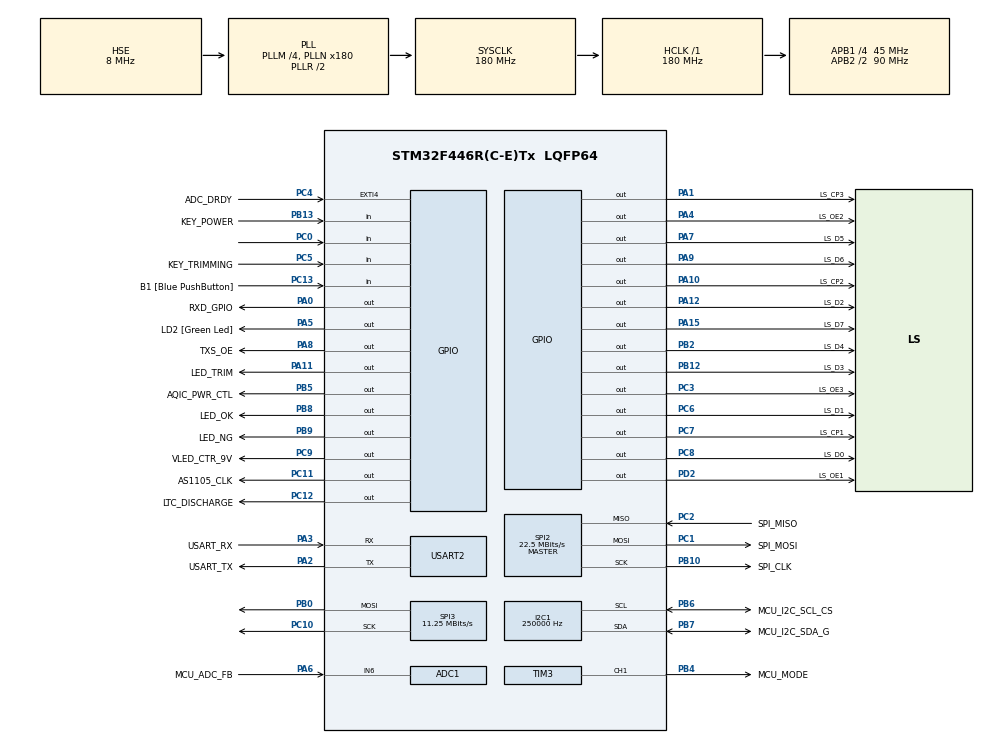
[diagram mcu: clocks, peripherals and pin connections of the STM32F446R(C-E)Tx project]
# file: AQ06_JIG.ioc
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ADC1.Channel-22\#ChannelRegularConversion=ADC_CHANNEL_6
ADC1.NbrOfConversionFlag=1
ADC1.Rank-22\#ChannelRegularConversion=1
ADC1.SamplingTime-22\#ChannelRegularConversion=ADC_SAMPLETIME_3CYCLES
ADC1.master=1
FREERTOS.INCLUDE_vTaskDelayUntil=1
FREERTOS.Queues01=queue_key_event,16,uint16_t,0,Dynamic,NULL,NULL
FREERTOS.Tasks01=JIG_MAIN,0,512,JigTestMainTask,Default,NULL,Dynamic,NULL,NULL;KeyDetectTask,-2,128,KeyDetector,Default,NULL,Dynamic,NULL,NULL;KeyHandlerTask,-2,128,KeyHandler,Default,NULL,Dynamic,NULL,NULL;myTaskDebugUart,-2,512,TaskDebugUart,Default,NULL,Dynamic,NULL,NULL
FREERTOS.configENABLE_FPU=1
FREERTOS.configUSE_TIMERS=1
I2C1.ClockSpeed=250000
I2C1.I2C_Mode=I2C_Fast
Mcu.Family=STM32F4
Mcu.Name=STM32F446R(C-E)Tx
Mcu.Package=LQFP64
NVIC.EXTI4_IRQn=true\:5\:0\:false\:false\:true\:true\:true\:true\:true
NVIC.PriorityGroup=NVIC_PRIORITYGROUP_4
NVIC.TIM1_UP_TIM10_IRQn=true\:15\:0\:false\:false\:true\:false\:false\:true\:true
NVIC.TimeBase=TIM1_UP_TIM10_IRQn
NVIC.TimeBaseIP=TIM1
NVIC.USART2_IRQn=true\:5\:0\:false\:false\:true\:true\:true\:true\:true
PA0-WKUP.GPIO_Label=RXD_GPIO
PA0-WKUP.Signal=GPIO_Output
PA1.GPIO_Label=LS_CP3
PA1.PinState=GPIO_PIN_RESET
PA1.Signal=GPIO_Output
PA10.GPIO_Label=LS_CP2
PA10.GPIO_Speed=GPIO_SPEED_FREQ_LOW
PA10.PinState=GPIO_PIN_RESET
PA10.Signal=GPIO_Output
PA11.GPIO_Label=LED_TRIM
PA11.Signal=GPIO_Output
PA12.GPIO_Label=LS_D2
PA12.Signal=GPIO_Output
PA13.GPIO_Label=TMS
PA13.Mode=Serial_Wire
PA13.Signal=SYS_JTMS-SWDIO
PA14.GPIO_Label=TCK
PA14.Mode=Serial_Wire
PA14.Signal=SYS_JTCK-SWCLK
PA15.GPIO_Label=LS_D7
PA15.Signal=GPIO_Output
PA2.GPIO_Label=USART_TX
PA2.Mode=Asynchronous
PA2.Signal=USART2_TX
PA3.GPIO_Label=USART_RX
PA3.Mode=Asynchronous
PA3.Signal=USART2_RX
PA4.GPIO_Label=LS_OE2
PA4.Signal=GPIO_Output
PA5.GPIO_Label=LD2 [Green Led]
PA5.Signal=GPIO_Output
PA6.GPIO_Label=MCU_ADC_FB
PA6.Signal=ADCx_IN6
PA7.GPIO_Label=LS_D5
PA7.Signal=GPIO_Output
PA8.GPIO_Label=TXS_OE
PA8.GPIO_Speed=GPIO_SPEED_FREQ_VERY_HIGH
PA8.Signal=GPIO_Output
PA9.GPIO_Label=LS_D6
PA9.GPIO_Speed=GPIO_SPEED_FREQ_LOW
PA9.Signal=GPIO_Output
PB0.Mode=TX_Only_Simplex_Unidirect_Master
PB0.Signal=SPI3_MOSI
PB10.GPIO_Label=SPI_CLK
PB10.Mode=Full_Duplex_Master
PB10.Signal=SPI2_SCK
PB12.GPIO_Label=LS_D3
PB12.Signal=GPIO_Output
PB13.GPIO_Label=KEY_POWER
PB13.GPIO_PuPd=GPIO_PULLUP
PB13.Signal=GPIO_Input
PB2.GPIO_Label=LS_D4
PB2.Signal=GPIO_Output
PB3.GPIO_Label=SWO
PB3.Signal=SYS_JTDO-SWO
PB4.GPIO_Label=MCU_MODE
PB4.Signal=S_TIM3_CH1
PB5.GPIO_Label=AQIC_PWR_CTL
PB5.Signal=GPIO_Output
PB6.GPIO_Label=MCU_I2C_SCL_CS
PB6.Mode=I2C
PB6.Signal=I2C1_SCL
PB7.GPIO_Label=MCU_I2C_SDA_G
PB7.Mode=I2C
PB7.Signal=I2C1_SDA
PB8.GPIO_Label=LED_OK
PB8.Signal=GPIO_Output
PB9.GPIO_Label=LED_NG
PB9.Signal=GPIO_Output
PC0.Signal=GPIO_Input
PC1.GPIO_Label=SPI_MOSI
PC1.Mode=Full_Duplex_Master
PC1.Signal=SPI2_MOSI
PC10.Mode=TX_Only_Simplex_Unidirect_Master
PC10.Signal=SPI3_SCK
PC11.GPIO_Label=AS1105_CLK
PC11.GPIO_Speed=GPIO_SPEED_FREQ_VERY_HIGH
PC11.Signal=GPIO_Output
PC12.GPIO_Label=LTC_DISCHARGE
PC12.GPIO_Speed=GPIO_SPEED_FREQ_VERY_HIGH
PC12.Signal=GPIO_Output
PC13.GPIO_Label=B1 [Blue PushButton]
PC13.Signal=GPIO_Input
PC14-OSC32_IN.Mode=LSE-External-Oscillator
PC14-OSC32_IN.Signal=RCC_OSC32_IN
PC15-OSC32_OUT.Mode=LSE-External-Oscillator
PC15-OSC32_OUT.Signal=RCC_OSC32_OUT
PC2.GPIO_Label=SPI_MISO
PC2.Mode=Full_Duplex_Master
PC2.Signal=SPI2_MISO
PC3.GPIO_Label=LS_OE3
PC3.PinState=GPIO_PIN_RESET
PC3.Signal=GPIO_Output
PC4.GPIO_Label=ADC_DRDY
PC4.GPIO_ModeDefaultEXTI=GPIO_MODE_IT_FALLING
PC4.Signal=GPXTI4
PC5.GPIO_Label=KEY_TRIMMING
PC5.Signal=GPIO_Input
PC6.GPIO_Label=LS_D1
PC6.Signal=GPIO_Output
PC7.GPIO_Label=LS_CP1
PC7.Signal=GPIO_Output
PC8.GPIO_Label=LS_D0
PC8.Signal=GPIO_Output
PC9.GPIO_Label=VLED_CTR_9V
PC9.PinState=GPIO_PIN_SET
PC9.Signal=GPIO_Output
PD2.GPIO_Label=LS_OE1
PD2.GPIO_ModeDefaultOutputPP=GPIO_MODE_OUTPUT_PP
PD2.GPIO_Speed=GPIO_SPEED_FREQ_VERY_HIGH
PD2.PinState=GPIO_PIN_RESET
PD2.Signal=GPIO_Output
PH0-OSC_IN.Mode=HSE-External-Oscillator
PH0-OSC_IN.Signal=RCC_OSC_IN
PH1-OSC_OUT.Mode=HSE-External-Oscillator
PH1-OSC_OUT.Signal=RCC_OSC_OUT
ProjectManager.HeapSize=0x200
ProjectManager.StackSize=0x400
ProjectManager.TargetToolchain=EWARM V8.32
RCC.48MHZClocksFreq_Value=84000000
RCC.AHBFreq_Value=180000000
RCC.APB1CLKDivider=RCC_HCLK_DIV4
RCC.APB1Freq_Value=45000000
RCC.APB1TimFreq_Value=90000000
RCC.APB2CLKDivider=RCC_HCLK_DIV2
RCC.APB2Freq_Value=90000000
RCC.APB2TimFreq_Value=180000000
RCC.CortexFreq_Value=180000000
RCC.FLatency-AdvancedSettings=FLASH_LATENCY_5
RCC.HCLKFreq_Value=180000000
RCC.HSE_VALUE=8000000
RCC.HSI_VALUE=16000000
RCC.PLLM=4
RCC.PLLN=180
RCC.PLLP=RCC_PLLP_DIV4
RCC.PLLSourceVirtual=RCC_PLLSOURCE_HSE
RCC.SYSCLKFreq_VALUE=180000000
RCC.SYSCLKSource=RCC_SYSCLKSOURCE_PLLRCLK
RCC.USBFreq_Value=180000000
RCC.VCOOutputFreq_Value=360000000
SH.ADCx_IN6.0=ADC1_IN6,IN6
SH.S_TIM3_CH1.0=TIM3_CH1,PWM Generation1 CH1
SPI2.BaudRatePrescaler=SPI_BAUDRATEPRESCALER_2
SPI2.CLKPhase=SPI_PHASE_2EDGE
SPI2.CalculateBaudRate=22.5 MBits/s
SPI2.Direction=SPI_DIRECTION_2LINES
SPI2.Mode=SPI_MODE_MASTER
SPI2.VirtualType=VM_MASTER
SPI3.BaudRatePrescaler=SPI_BAUDRATEPRESCALER_4
SPI3.CLKPolarity=SPI_POLARITY_HIGH
SPI3.CalculateBaudRate=11.25 MBits/s
SPI3.DataSize=SPI_DATASIZE_16BIT
SPI3.Direction=SPI_DIRECTION_2LINES
SPI3.Mode=SPI_MODE_MASTER
SPI3.VirtualType=VM_MASTER
TIM3.AutoReloadPreload=TIM_AUTORELOAD_PRELOAD_ENABLE
TIM3.Channel-PWM\ Generation1\ CH1=TIM_CHANNEL_1
TIM3.Period=89
TIM3.Prescaler=0
TIM3.Pulse-PWM\ Generation1\ CH1=25
TIM4.AutoReloadPreload=TIM_AUTORELOAD_PRELOAD_ENABLE
TIM4.Prescaler=89
USART2.VirtualMode=VM_ASYNC
VP_FREERTOS_VS_CMSIS_V1.Mode=CMSIS_V1
VP_SYS_VS_tim1.Mode=TIM1
VP_TIM3_VS_ClockSourceINT.Mode=Internal
VP_TIM4_VS_ClockSourceINT.Mode=Internal
board=NUCLEO-F446RE

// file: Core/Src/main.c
/* USER CODE BEGIN Header */
/**
  ******************************************************************************
  * @file           : main.c
  * @brief          : Main program body
  ******************************************************************************
  * @attention
  *
  * <h2><center>&copy; Copyright (c) 2021 STMicroelectronics.
  * All rights reserved.</center></h2>
  *
  * This software component is licensed by ST under Ultimate Liberty license
  * SLA0044, the "License"; You may not use this file except in compliance with
  * the License. You may obtain a copy of the License at:
  *                             www.st.com/SLA0044
  *
  ******************************************************************************
  */
#define __APIC_MAIN_C__
/* USER CODE END Header */
#include "main.h"
#include "cmsis_os.h"

/* USER CODE BEGIN Includes */
#include "include.h"

/* USER CODE END Includes */

ADC_HandleTypeDef hadc1;

I2C_HandleTypeDef hi2c1;

SPI_HandleTypeDef hspi2;
SPI_HandleTypeDef hspi3;

TIM_HandleTypeDef htim3;
TIM_HandleTypeDef htim4;

UART_HandleTypeDef huart2;

osThreadId JIG_MAINHandle;
osThreadId KeyDetectTaskHandle;
osThreadId KeyHandlerTaskHandle;
osThreadId myTaskDebugUartHandle;
osMessageQId queue_key_eventHandle;
/* USER CODE BEGIN PV */

//osMessageQId Queue_Handle;
//osPoolId Pool_ID;
#define UART_CMD_LENGTH     60
typedef struct {
    uint8_t len;
    uint8_t param[UART_CMD_LENGTH];
}MessageQ;

/* Place following data in section METAINFO */
#pragma default_variable_attributes = __root @ "METAINFO"
const uint16_t gn_metainfo[8] =
{
    0xAAAA,
    VERSION_MAJOR,
    VERSION_MINOR,
    VERSION_REVISION,
    BUILD_YEAR,
    (BUILD_MONTH + 1),
    BUILD_DAY,
    0x5555
};
/* Stop placing data in section METAINFO */
#pragma default_variable_attributes =

uint8_t gn_i2c_setting_type;    /* 0 : I2C, 1 : GPIO */

uint8_t gn_apic_test_type;      /* 0 : normal test, 1 : 1 : trimming */

static uint8_t gn_uart_temp_rx;

static uint8_t gn_uart_msg_queue_index;
static MessageQ gt_uart_queue[16];
static MessageQ* gp_uart_queue;

QueueHandle_t xQueue = NULL;

char msg_buffer[256];

/* USER CODE END PV */

void SystemClock_Config(void);
static void MX_GPIO_Init(void);
static void MX_USART2_UART_Init(void);
static void MX_I2C1_Init(void);
static void MX_TIM3_Init(void);
static void MX_ADC1_Init(void);
static void MX_SPI2_Init(void);
static void MX_SPI3_Init(void);
static void MX_TIM4_Init(void);
void JigTestMainTask(void const * argument);
void KeyDetector(void const * argument);
void KeyHandler(void const * argument);
void TaskDebugUart(void const * argument);

/* USER CODE BEGIN PFP */
static void DAC_SPI_CS_LO()
{
    LATCH__WritePin(DAC_CS_LS_CP, DAC_CS_LS_PORT, LATCH_PIN_RESET);
}

static void DAC_SPI_CS_HI()
{
    LATCH__WritePin(DAC_CS_LS_CP, DAC_CS_LS_PORT, LATCH_PIN_SET);
}

static void spi_dac_init(void)
{
    uint16_t spi_buffer[1] = {0, };

    spi_buffer[0] = DAC_OP_MODE_WTM;

    DAC_SPI_CS_LO();
    HAL_SPI_Transmit(&hspi3, (uint8_t *)spi_buffer, 1, 1);
    DAC_SPI_CS_HI();

    spi_buffer[0] = DAC_OP_BROADCAST;

    DAC_SPI_CS_LO();
    HAL_SPI_Transmit(&hspi3, (uint8_t *)spi_buffer, 1, 1);
    DAC_SPI_CS_HI();
}

void AQIC_Apply_Voltage(float f_voltage, uint8_t ch)
{
    uint16_t channel = ch;
    uint16_t gn_spi_buffer[1] = {0};
    uint16_t voltage_to_dac = (uint16_t)((f_voltage * 4095) / 5.0f);

    if(voltage_to_dac > 4095)
    {
        voltage_to_dac = 4095;
    }

    if (channel != AQIC_D_ALL)
    {
        gn_spi_buffer[0] = (channel<<12) | voltage_to_dac;
        DAC_SPI_CS_LO();
        HAL_SPI_Transmit(&hspi3, (uint8_t*)gn_spi_buffer, 1, 1);
        DAC_SPI_CS_HI();
    }

    else
    {
        for(channel = 0 ; channel < 2 ; channel++)
        {
            gn_spi_buffer[0] = (channel<<12) | voltage_to_dac;
            DAC_SPI_CS_LO();
            HAL_SPI_Transmit(&hspi3, (uint8_t*)gn_spi_buffer, 1, 1);
            DAC_SPI_CS_HI();
        }
    }
}

void AQIC_I2C_Setting(uint8_t i2c_type)
{
    if(gn_i2c_setting_type != i2c_type)
    {
        gn_i2c_setting_type = i2c_type;

        snprintf(msg_buffer, sizeof msg_buffer, "Change to %s\r\n", (gn_i2c_setting_type == I2C_USED_I2C) ? "I2C_I2C" : "I2C_GPIO" );
        print(msg_buffer);

        if(gn_i2c_setting_type == I2C_USED_I2C)
        {
            hi2c1.Instance = I2C1;
            hi2c1.Init.ClockSpeed = 100000;
            hi2c1.Init.DutyCycle = I2C_DUTYCYCLE_2;
            hi2c1.Init.OwnAddress1 = 0;
            hi2c1.Init.AddressingMode = I2C_ADDRESSINGMODE_7BIT;
            hi2c1.Init.DualAddressMode = I2C_DUALADDRESS_DISABLE;
            hi2c1.Init.OwnAddress2 = 0;
            hi2c1.Init.GeneralCallMode = I2C_GENERALCALL_DISABLE;
            hi2c1.Init.NoStretchMode = I2C_NOSTRETCH_DISABLE;
            if (HAL_I2C_Init(&hi2c1) != HAL_OK)
            {
                Error_Handler();
            }
        }
        else
        {
            HAL_I2C_DeInit(&hi2c1);
            /* GPIO Ports Clock Enable */
            __HAL_RCC_GPIOB_CLK_ENABLE();
            GPIO_InitTypeDef GPIO_InitStruct = {0};

            /*Configure GPIO pin Output Level */
            HAL_GPIO_WritePin(GPIOB, MCU_I2C_SCL_CS_Pin| MCU_I2C_SDA_G_Pin, GPIO_PIN_RESET);

            /*Configure GPIO pins : MCU_I2C_SCL_CS_Pin MCU_I2C_SDA_G_Pin */
            GPIO_InitStruct.Pin = MCU_I2C_SCL_CS_Pin | MCU_I2C_SDA_G_Pin;
            GPIO_InitStruct.Mode = GPIO_MODE_OUTPUT_PP;
            GPIO_InitStruct.Pull = GPIO_NOPULL;
            GPIO_InitStruct.Speed = GPIO_SPEED_FREQ_LOW;
            HAL_GPIO_Init(GPIOB, &GPIO_InitStruct);
        }
    }
}

void us_delay(uint32_t us_delay)
{
    HAL_TIM_Base_Start(&htim4);
    while (__HAL_TIM_GET_COUNTER(&htim4) < us_delay)
    {
    }
    __HAL_TIM_SET_COUNTER(&htim4, 0);
    HAL_TIM_Base_Stop(&htim4);
}

void print(const char* str)
{
    HAL_UART_Transmit(&huart2, (uint8_t*)str, strlen(str), 100);
}

/* USER CODE END PFP */

int main(void)
{

  /* MCU Configuration--------------------------------------------------------*/

  /* Reset of all peripherals, Initializes the Flash interface and the Systick. */
  HAL_Init();

  /* Configure the system clock */
  SystemClock_Config();

  /* Initialize all configured peripherals */
  MX_GPIO_Init();
  MX_USART2_UART_Init();
  MX_I2C1_Init();
  MX_TIM3_Init();
  MX_ADC1_Init();
  MX_SPI2_Init();
  MX_SPI3_Init();
  MX_TIM4_Init();
  /* USER CODE BEGIN 2 */

    print("\r\nstart AQ06 TRIMMING_JIG application....\r\n");
    snprintf(msg_buffer, sizeof msg_buffer, "Build time : %s / %s\r\n", __DATE__, __TIME__ );
    print(msg_buffer);

    ads114s08_init();

    LATCH__WritePin(LTC_HIGH_CURRENT_LS_CP, LTC_HIGH_CURRENT_LS_PORT, LATCH_PIN_RESET);
    AQIC_I2C_Setting(I2C_USED_GPIO);

    /* PWM for using APIC MODE & TRIMMING */
    AQIC_Mode_Setting(MODE_DAC);
    AQIC_Apply_Voltage(0.0f, AQIC_MODE);
    AQIC_Apply_Voltage(0.0f, AQIC_D_ALL);
    AQIC_Mode_Duty(DUTY_ZERO);

    spi_dac_init();
    /* SPI DAC - 0V */
    AQIC_Select_Output_Ch(AQIC_O_MAX);

    HAL_UART_Receive_IT(&huart2, &gn_uart_temp_rx, 1);

    HAL_TIM_Base_Start(&htim4);
print("\n\r==========================================\r\n");
#ifndef MANUAL_TEST
    snprintf(msg_buffer, sizeof msg_buffer, "Test Mode : Din Auto Increase Mode");
#else
    snprintf(msg_buffer, sizeof msg_buffer, "Test Mode : Din Manual Test Mode");
#endif
    print(msg_buffer);
print("\n\r==========================================\r\n\r\n");

  /* USER CODE END 2 */

  /* USER CODE BEGIN RTOS_TIMERS */
  /* start timers, add new ones, ... */
  // creates a periodic timer:
  /* USER CODE END RTOS_TIMERS */

  /* Create the queue(s) */
  /* definition and creation of queue_key_event */
  osMessageQDef(queue_key_event, 16, uint16_t);
  queue_key_eventHandle = osMessageCreate(osMessageQ(queue_key_event), NULL);

  /* USER CODE BEGIN RTOS_QUEUES */
    xQueue = xQueueCreate( 10, sizeof(MessageQ *));
  /* add queues, ... */
  /* USER CODE END RTOS_QUEUES */

  /* Create the thread(s) */
  /* definition and creation of JIG_MAIN */
  osThreadDef(JIG_MAIN, JigTestMainTask, osPriorityNormal, 0, 512);
  JIG_MAINHandle = osThreadCreate(osThread(JIG_MAIN), NULL);

  /* definition and creation of KeyDetectTask */
  osThreadDef(KeyDetectTask, KeyDetector, osPriorityLow, 0, 128);
  KeyDetectTaskHandle = osThreadCreate(osThread(KeyDetectTask), NULL);

  /* definition and creation of KeyHandlerTask */
  osThreadDef(KeyHandlerTask, KeyHandler, osPriorityLow, 0, 128);
  KeyHandlerTaskHandle = osThreadCreate(osThread(KeyHandlerTask), NULL);

  /* definition and creation of myTaskDebugUart */
  osThreadDef(myTaskDebugUart, TaskDebugUart, osPriorityLow, 0, 512);
  myTaskDebugUartHandle = osThreadCreate(osThread(myTaskDebugUart), NULL);

  /* Start scheduler */
  osKernelStart();

  /* We should never get here as control is now taken by the scheduler */

  /* Infinite loop */
  while (1)
  {

  }
}

void SystemClock_Config(void)
{
  RCC_OscInitTypeDef RCC_OscInitStruct = {0};
  RCC_ClkInitTypeDef RCC_ClkInitStruct = {0};

  /** Configure the main internal regulator output voltage
  */
  __HAL_RCC_PWR_CLK_ENABLE();
  __HAL_PWR_VOLTAGESCALING_CONFIG(PWR_REGULATOR_VOLTAGE_SCALE1);

  /** Initializes the RCC Oscillators according to the specified parameters
  * in the RCC_OscInitTypeDef structure.
  */
  RCC_OscInitStruct.OscillatorType = RCC_OSCILLATORTYPE_HSE;
  RCC_OscInitStruct.HSEState = RCC_HSE_ON;
  RCC_OscInitStruct.PLL.PLLState = RCC_PLL_ON;
  RCC_OscInitStruct.PLL.PLLSource = RCC_PLLSOURCE_HSE;
  RCC_OscInitStruct.PLL.PLLM = 4;
  RCC_OscInitStruct.PLL.PLLN = 180;
  RCC_OscInitStruct.PLL.PLLP = RCC_PLLP_DIV4;
  RCC_OscInitStruct.PLL.PLLQ = 2;
  RCC_OscInitStruct.PLL.PLLR = 2;
  if (HAL_RCC_OscConfig(&RCC_OscInitStruct) != HAL_OK)
  {
    Error_Handler();
  }

  /** Activate the Over-Drive mode
  */
  if (HAL_PWREx_EnableOverDrive() != HAL_OK)
  {
    Error_Handler();
  }

  /** Initializes the CPU, AHB and APB buses clocks
  */
  RCC_ClkInitStruct.ClockType = RCC_CLOCKTYPE_HCLK|RCC_CLOCKTYPE_SYSCLK
                              |RCC_CLOCKTYPE_PCLK1|RCC_CLOCKTYPE_PCLK2;
  RCC_ClkInitStruct.SYSCLKSource = RCC_SYSCLKSOURCE_PLLRCLK;
  RCC_ClkInitStruct.AHBCLKDivider = RCC_SYSCLK_DIV1;
  RCC_ClkInitStruct.APB1CLKDivider = RCC_HCLK_DIV4;
  RCC_ClkInitStruct.APB2CLKDivider = RCC_HCLK_DIV2;

  if (HAL_RCC_ClockConfig(&RCC_ClkInitStruct, FLASH_LATENCY_5) != HAL_OK)
  {
    Error_Handler();
  }
}

static void MX_ADC1_Init(void)
{

  ADC_ChannelConfTypeDef sConfig = {0};

  /** Configure the global features of the ADC (Clock, Resolution, Data Alignment and number of conversion)
  */
  hadc1.Instance = ADC1;
  hadc1.Init.ClockPrescaler = ADC_CLOCK_SYNC_PCLK_DIV4;
  hadc1.Init.Resolution = ADC_RESOLUTION_12B;
  hadc1.Init.ScanConvMode = DISABLE;
  hadc1.Init.ContinuousConvMode = DISABLE;
  hadc1.Init.DiscontinuousConvMode = DISABLE;
  hadc1.Init.ExternalTrigConvEdge = ADC_EXTERNALTRIGCONVEDGE_NONE;
  hadc1.Init.ExternalTrigConv = ADC_SOFTWARE_START;
  hadc1.Init.DataAlign = ADC_DATAALIGN_RIGHT;
  hadc1.Init.NbrOfConversion = 1;
  hadc1.Init.DMAContinuousRequests = DISABLE;
  hadc1.Init.EOCSelection = ADC_EOC_SINGLE_CONV;
  if (HAL_ADC_Init(&hadc1) != HAL_OK)
  {
    Error_Handler();
  }

  /** Configure for the selected ADC regular channel its corresponding rank in the sequencer and its sample time.
  */
  sConfig.Channel = ADC_CHANNEL_6;
  sConfig.Rank = 1;
  sConfig.SamplingTime = ADC_SAMPLETIME_3CYCLES;
  if (HAL_ADC_ConfigChannel(&hadc1, &sConfig) != HAL_OK)
  {
    Error_Handler();
  }

}

static void MX_I2C1_Init(void)
{

  hi2c1.Instance = I2C1;
  hi2c1.Init.ClockSpeed = 250000;
  hi2c1.Init.DutyCycle = I2C_DUTYCYCLE_2;
  hi2c1.Init.OwnAddress1 = 0;
  hi2c1.Init.AddressingMode = I2C_ADDRESSINGMODE_7BIT;
  hi2c1.Init.DualAddressMode = I2C_DUALADDRESS_DISABLE;
  hi2c1.Init.OwnAddress2 = 0;
  hi2c1.Init.GeneralCallMode = I2C_GENERALCALL_DISABLE;
  hi2c1.Init.NoStretchMode = I2C_NOSTRETCH_DISABLE;
  if (HAL_I2C_Init(&hi2c1) != HAL_OK)
  {
    Error_Handler();
  }

}

static void MX_SPI2_Init(void)
{

  /* SPI2 parameter configuration*/
  hspi2.Instance = SPI2;
  hspi2.Init.Mode = SPI_MODE_MASTER;
  hspi2.Init.Direction = SPI_DIRECTION_2LINES;
  hspi2.Init.DataSize = SPI_DATASIZE_8BIT;
  hspi2.Init.CLKPolarity = SPI_POLARITY_LOW;
  hspi2.Init.CLKPhase = SPI_PHASE_2EDGE;
  hspi2.Init.NSS = SPI_NSS_SOFT;
  hspi2.Init.BaudRatePrescaler = SPI_BAUDRATEPRESCALER_2;
  hspi2.Init.FirstBit = SPI_FIRSTBIT_MSB;
  hspi2.Init.TIMode = SPI_TIMODE_DISABLE;
  hspi2.Init.CRCCalculation = SPI_CRCCALCULATION_DISABLE;
  hspi2.Init.CRCPolynomial = 10;
  if (HAL_SPI_Init(&hspi2) != HAL_OK)
  {
    Error_Handler();
  }

}

static void MX_SPI3_Init(void)
{

  /* SPI3 parameter configuration*/
  hspi3.Instance = SPI3;
  hspi3.Init.Mode = SPI_MODE_MASTER;
  hspi3.Init.Direction = SPI_DIRECTION_2LINES;
  hspi3.Init.DataSize = SPI_DATASIZE_16BIT;
  hspi3.Init.CLKPolarity = SPI_POLARITY_HIGH;
  hspi3.Init.CLKPhase = SPI_PHASE_1EDGE;
  hspi3.Init.NSS = SPI_NSS_SOFT;
  hspi3.Init.BaudRatePrescaler = SPI_BAUDRATEPRESCALER_4;
  hspi3.Init.FirstBit = SPI_FIRSTBIT_MSB;
  hspi3.Init.TIMode = SPI_TIMODE_DISABLE;
  hspi3.Init.CRCCalculation = SPI_CRCCALCULATION_DISABLE;
  hspi3.Init.CRCPolynomial = 10;
  if (HAL_SPI_Init(&hspi3) != HAL_OK)
  {
    Error_Handler();
  }

}

static void MX_TIM3_Init(void)
{

  TIM_ClockConfigTypeDef sClockSourceConfig = {0};
  TIM_MasterConfigTypeDef sMasterConfig = {0};
  TIM_OC_InitTypeDef sConfigOC = {0};

  htim3.Instance = TIM3;
  htim3.Init.Prescaler = 0;
  htim3.Init.CounterMode = TIM_COUNTERMODE_UP;
  htim3.Init.Period = 89;
  htim3.Init.ClockDivision = TIM_CLOCKDIVISION_DIV1;
  htim3.Init.AutoReloadPreload = TIM_AUTORELOAD_PRELOAD_ENABLE;
  if (HAL_TIM_Base_Init(&htim3) != HAL_OK)
  {
    Error_Handler();
  }
  sClockSourceConfig.ClockSource = TIM_CLOCKSOURCE_INTERNAL;
  if (HAL_TIM_ConfigClockSource(&htim3, &sClockSourceConfig) != HAL_OK)
  {
    Error_Handler();
  }
  if (HAL_TIM_PWM_Init(&htim3) != HAL_OK)
  {
    Error_Handler();
  }
  sMasterConfig.MasterOutputTrigger = TIM_TRGO_RESET;
  sMasterConfig.MasterSlaveMode = TIM_MASTERSLAVEMODE_DISABLE;
  if (HAL_TIMEx_MasterConfigSynchronization(&htim3, &sMasterConfig) != HAL_OK)
  {
    Error_Handler();
  }
  sConfigOC.OCMode = TIM_OCMODE_PWM1;
  sConfigOC.Pulse = 25;
  sConfigOC.OCPolarity = TIM_OCPOLARITY_HIGH;
  sConfigOC.OCFastMode = TIM_OCFAST_DISABLE;
  if (HAL_TIM_PWM_ConfigChannel(&htim3, &sConfigOC, TIM_CHANNEL_1) != HAL_OK)
  {
    Error_Handler();
  }
  HAL_TIM_MspPostInit(&htim3);

}

static void MX_TIM4_Init(void)
{

  TIM_ClockConfigTypeDef sClockSourceConfig = {0};
  TIM_MasterConfigTypeDef sMasterConfig = {0};

  htim4.Instance = TIM4;
  htim4.Init.Prescaler = 89;
  htim4.Init.CounterMode = TIM_COUNTERMODE_UP;
  htim4.Init.Period = 65535;
  htim4.Init.ClockDivision = TIM_CLOCKDIVISION_DIV1;
  htim4.Init.AutoReloadPreload = TIM_AUTORELOAD_PRELOAD_ENABLE;
  if (HAL_TIM_Base_Init(&htim4) != HAL_OK)
  {
    Error_Handler();
  }
  sClockSourceConfig.ClockSource = TIM_CLOCKSOURCE_INTERNAL;
  if (HAL_TIM_ConfigClockSource(&htim4, &sClockSourceConfig) != HAL_OK)
  {
    Error_Handler();
  }
  sMasterConfig.MasterOutputTrigger = TIM_TRGO_RESET;
  sMasterConfig.MasterSlaveMode = TIM_MASTERSLAVEMODE_DISABLE;
  if (HAL_TIMEx_MasterConfigSynchronization(&htim4, &sMasterConfig) != HAL_OK)
  {
    Error_Handler();
  }

}

static void MX_USART2_UART_Init(void)
{

  huart2.Instance = USART2;
  huart2.Init.BaudRate = 115200;
  huart2.Init.WordLength = UART_WORDLENGTH_8B;
  huart2.Init.StopBits = UART_STOPBITS_1;
  huart2.Init.Parity = UART_PARITY_NONE;
  huart2.Init.Mode = UART_MODE_TX_RX;
  huart2.Init.HwFlowCtl = UART_HWCONTROL_NONE;
  huart2.Init.OverSampling = UART_OVERSAMPLING_16;
  if (HAL_UART_Init(&huart2) != HAL_OK)
  {
    Error_Handler();
  }

}

static void MX_GPIO_Init(void)
{
  GPIO_InitTypeDef GPIO_InitStruct = {0};

  /* GPIO Ports Clock Enable */
  __HAL_RCC_GPIOC_CLK_ENABLE();
  __HAL_RCC_GPIOH_CLK_ENABLE();
  __HAL_RCC_GPIOA_CLK_ENABLE();
  __HAL_RCC_GPIOB_CLK_ENABLE();
  __HAL_RCC_GPIOD_CLK_ENABLE();

  /*Configure GPIO pin Output Level */
  HAL_GPIO_WritePin(GPIOC, LS_OE3_Pin|LS_D1_Pin|LS_CP1_Pin|LS_D0_Pin
                          |AS1105_CLK_Pin|LTC_DISCHARGE_Pin, GPIO_PIN_RESET);

  /*Configure GPIO pin Output Level */
  HAL_GPIO_WritePin(GPIOA, RXD_GPIO_Pin|LS_CP3_Pin|LS_OE2_Pin|LD2_Pin
                          |LS_D5_Pin|TXS_OE_Pin|LS_D6_Pin|LS_CP2_Pin
                          |LED_TRIM_Pin|LS_D2_Pin|LS_D7_Pin, GPIO_PIN_RESET);

  /*Configure GPIO pin Output Level */
  HAL_GPIO_WritePin(GPIOB, LS_D4_Pin|LS_D3_Pin|AQIC_PWR_CTL_Pin|LED_OK_Pin
                          |LED_NG_Pin, GPIO_PIN_RESET);

  /*Configure GPIO pin Output Level */
  HAL_GPIO_WritePin(VLED_CTR_9V_GPIO_Port, VLED_CTR_9V_Pin, GPIO_PIN_SET);

  /*Configure GPIO pin Output Level */
  HAL_GPIO_WritePin(LS_OE1_GPIO_Port, LS_OE1_Pin, GPIO_PIN_RESET);

  /*Configure GPIO pins : B1_Pin PC0 KEY_TRIMMING_Pin */
  GPIO_InitStruct.Pin = B1_Pin|GPIO_PIN_0|KEY_TRIMMING_Pin;
  GPIO_InitStruct.Mode = GPIO_MODE_INPUT;
  GPIO_InitStruct.Pull = GPIO_NOPULL;
  HAL_GPIO_Init(GPIOC, &GPIO_InitStruct);

  /*Configure GPIO pins : LS_OE3_Pin LS_D1_Pin LS_CP1_Pin LS_D0_Pin
                           VLED_CTR_9V_Pin */
  GPIO_InitStruct.Pin = LS_OE3_Pin|LS_D1_Pin|LS_CP1_Pin|LS_D0_Pin
                          |VLED_CTR_9V_Pin;
  GPIO_InitStruct.Mode = GPIO_MODE_OUTPUT_PP;
  GPIO_InitStruct.Pull = GPIO_NOPULL;
  GPIO_InitStruct.Speed = GPIO_SPEED_FREQ_LOW;
  HAL_GPIO_Init(GPIOC, &GPIO_InitStruct);

  /*Configure GPIO pins : RXD_GPIO_Pin LS_CP3_Pin LS_OE2_Pin LD2_Pin
                           LS_D5_Pin LS_D6_Pin LS_CP2_Pin LED_TRIM_Pin
                           LS_D2_Pin LS_D7_Pin */
  GPIO_InitStruct.Pin = RXD_GPIO_Pin|LS_CP3_Pin|LS_OE2_Pin|LD2_Pin
                          |LS_D5_Pin|LS_D6_Pin|LS_CP2_Pin|LED_TRIM_Pin
                          |LS_D2_Pin|LS_D7_Pin;
  GPIO_InitStruct.Mode = GPIO_MODE_OUTPUT_PP;
  GPIO_InitStruct.Pull = GPIO_NOPULL;
  GPIO_InitStruct.Speed = GPIO_SPEED_FREQ_LOW;
  HAL_GPIO_Init(GPIOA, &GPIO_InitStruct);

  /*Configure GPIO pin : ADC_DRDY_Pin */
  GPIO_InitStruct.Pin = ADC_DRDY_Pin;
  GPIO_InitStruct.Mode = GPIO_MODE_IT_FALLING;
  GPIO_InitStruct.Pull = GPIO_NOPULL;
  HAL_GPIO_Init(ADC_DRDY_GPIO_Port, &GPIO_InitStruct);

  /*Configure GPIO pins : LS_D4_Pin LS_D3_Pin AQIC_PWR_CTL_Pin LED_OK_Pin
                           LED_NG_Pin */
  GPIO_InitStruct.Pin = LS_D4_Pin|LS_D3_Pin|AQIC_PWR_CTL_Pin|LED_OK_Pin
                          |LED_NG_Pin;
  GPIO_InitStruct.Mode = GPIO_MODE_OUTPUT_PP;
  GPIO_InitStruct.Pull = GPIO_NOPULL;
  GPIO_InitStruct.Speed = GPIO_SPEED_FREQ_LOW;
  HAL_GPIO_Init(GPIOB, &GPIO_InitStruct);

  /*Configure GPIO pin : KEY_POWER_Pin */
  GPIO_InitStruct.Pin = KEY_POWER_Pin;
  GPIO_InitStruct.Mode = GPIO_MODE_INPUT;
  GPIO_InitStruct.Pull = GPIO_PULLUP;
  HAL_GPIO_Init(KEY_POWER_GPIO_Port, &GPIO_InitStruct);

  /*Configure GPIO pin : TXS_OE_Pin */
  GPIO_InitStruct.Pin = TXS_OE_Pin;
  GPIO_InitStruct.Mode = GPIO_MODE_OUTPUT_PP;
  GPIO_InitStruct.Pull = GPIO_NOPULL;
  GPIO_InitStruct.Speed = GPIO_SPEED_FREQ_VERY_HIGH;
  HAL_GPIO_Init(TXS_OE_GPIO_Port, &GPIO_InitStruct);

  /*Configure GPIO pins : AS1105_CLK_Pin LTC_DISCHARGE_Pin */
  GPIO_InitStruct.Pin = AS1105_CLK_Pin|LTC_DISCHARGE_Pin;
  GPIO_InitStruct.Mode = GPIO_MODE_OUTPUT_PP;
  GPIO_InitStruct.Pull = GPIO_NOPULL;
  GPIO_InitStruct.Speed = GPIO_SPEED_FREQ_VERY_HIGH;
  HAL_GPIO_Init(GPIOC, &GPIO_InitStruct);

  /*Configure GPIO pin : LS_OE1_Pin */
  GPIO_InitStruct.Pin = LS_OE1_Pin;
  GPIO_InitStruct.Mode = GPIO_MODE_OUTPUT_PP;
  GPIO_InitStruct.Pull = GPIO_NOPULL;
  GPIO_InitStruct.Speed = GPIO_SPEED_FREQ_VERY_HIGH;
  HAL_GPIO_Init(LS_OE1_GPIO_Port, &GPIO_InitStruct);

  /* EXTI interrupt init*/
  HAL_NVIC_SetPriority(EXTI4_IRQn, 5, 0);
  HAL_NVIC_EnableIRQ(EXTI4_IRQn);

}

/* USER CODE BEGIN 4 */
void HAL_UART_RxCpltCallback(UART_HandleTypeDef *huart)
{
    if (huart->Instance == USART2)
    {
        HAL_UART_Transmit(huart, &gn_uart_temp_rx, 1, 5);

        if((gn_uart_temp_rx == '\n') || (gn_uart_temp_rx == '\r'))
        {
            BaseType_t xHigherPriorityTaskWoken = pdFALSE;
            gt_uart_queue[gn_uart_msg_queue_index].param[gt_uart_queue[gn_uart_msg_queue_index].len] = 0;

            gp_uart_queue = gt_uart_queue + gn_uart_msg_queue_index;

            xQueueSendFromISR(xQueue, &gp_uart_queue, &xHigherPriorityTaskWoken);
            /* Now the buffer is empty we can switch context if necessary. */
            if( xHigherPriorityTaskWoken )
            {
                /* Actual macro used here is port specific. */
                portYIELD();
            }

            ++gn_uart_msg_queue_index;
            if(gn_uart_msg_queue_index == 16)
            {
                gn_uart_msg_queue_index = 0;
            }

        }
        else if(gn_uart_temp_rx == 0x08)
        {
            if(gt_uart_queue[gn_uart_msg_queue_index].len)
            {
                uint8_t temp[2] = { ' ', 0x08 };

                --gt_uart_queue[gn_uart_msg_queue_index].len;
                HAL_UART_Transmit(huart, temp, 2, 5);
            }
        }
        else
        {
            gt_uart_queue[gn_uart_msg_queue_index].param[gt_uart_queue[gn_uart_msg_queue_index].len] = gn_uart_temp_rx;
            ++gt_uart_queue[gn_uart_msg_queue_index].len;
        }

        HAL_UART_Receive_IT(&huart2, &gn_uart_temp_rx, 1);
    }
}
/* USER CODE END 4 */

void JigTestMainTask(void const * argument)
{
  /* USER CODE BEGIN 5 */
    print("Start JigTestMainTask Task\r\n");

  /* Infinite loop */
    for(;;)
    {
        osDelay(1);
        if(gn_apic_test_type == 0)  /* normal test */
        {
            test_procedure_run();
        }
        else                        /* trimming */
        {
            trimming_procedure_run();
        }
    }
  /* USER CODE END 5 */
}

void KeyDetector(void const * argument)
{
  for(;;)
  {
    osDelay(1);
  }
}

void KeyHandler(void const * argument)
{
  /* USER CODE BEGIN KeyHandler */
#if (osCMSIS < 0x20000U)
    osEvent event;
#else
    osStatus_t status;
#endif
    uint16_t key_event = 0;

    print("Start KeyHandler Task\r\n");

    /* Infinite loop */
    for(;;)
    {
#if (osCMSIS < 0x20000U)
        event = osMessageGet(queue_key_eventHandle, osWaitForever);   // wait for message
        if(event.status == osEventMessage)
        {
            key_event = (uint16_t)event.value.v;
#else
        status = osMessageQueueGet(queue_key_eventHandle, &key_event, NULL, osWaitForever);   // wait for message
        if (status == osOK)
        {
#endif
        }
    }
  /* USER CODE END KeyHandler */
}

void TaskDebugUart(void const * argument)
{
  /* USER CODE BEGIN TaskDebugUart */
    MessageQ *pMsgQ = NULL;

    char str_in[UART_CMD_LENGTH+1] = {0, };
    uint32_t recv_param = 0;
    uint32_t recv_reg_addr = 0;
    uint32_t recv_reg_val = 0;
    uint32_t recv_trim_rang[4] = {0,};
    uint32_t recv_czmn[3] = {0,};

    float recv_trim_volt[6] = {0,};
    float f_voltage = 0.0f;
    // float f_pwm_voltage = 0.0f;

    print("Start TaskDebugUart Task\r\n");

  /* Infinite loop */
  for(;;)
  {
        if(xQueueReceive( xQueue,&pMsgQ,( TickType_t )portMAX_DELAY ) == pdPASS)
        {
            if(UART_CMD_LENGTH < pMsgQ->len)
            {
                pMsgQ->len = pMsgQ->len;
            }

            memcpy(str_in, pMsgQ->param, pMsgQ->len);
            pMsgQ->len = 0;

            if(!strncmp(str_in, "help", sizeof("help")))
            {
                print("\n\r--------------- Command Description ---------------");
                print("\n\r\t-run               : start measurement");

                print("\n\r\t-cz n              : set cz to n [n : 1 ~ 4]");
                print("\n\r\t-cz                : current cz");

                print("\n\r\t-manual volt n     : set manual voltage to n [n : 0 ~ 4.5]");
                print("\n\r\t-manual volt       : current manual voltage");

                print("\n\r\t-manual gain n     : set manual gain to High or Mid or Low");
                print("\n\r\t                     High @ n = 2, up to 80mA");
                print("\n\r\t                     Mid  @ n = 1, up to 10mA");
                print("\n\r\t                     Low  @ n = 0, up to  1mA");

                print("\n\r\t-manual gain       : current manual gain");
                print("\n\r---------------------------------------------------");
            }
            else if(!(strcmp(str_in, "info")))
            {
            }
            else if(!(strcmp(str_in, "run")) || !(strcmp(str_in, "2")))
            {
                gn_apic_test_type = 0;
                test_Procedure_Start();
            }
            else if(!(strcmp(str_in, "trim_start")) || !(strcmp(str_in, "1")))
            {
                gn_apic_test_type = 1;
                trimming_procedure_start();
            }
            else if(!(strcmp(str_in, "cz")))
            {
                snprintf(msg_buffer, sizeof msg_buffer, "\r\n cz_volt : %3.1f \r\n", gf_measure_cz_volt);
                print(msg_buffer);
            }
            else if(sscanf(str_in, "cz %d", &recv_param) == 1)
            {
                if (recv_param == 1)
                {
                    print("\r\n set cz 1 (mode = 0.5V)");
                    gf_measure_cz_volt = CZ_1;
                }
                else if (recv_param == 2)
                {
                    print("\r\n set cz 2 (mode = 1.5V)");
                    gf_measure_cz_volt = CZ_2;
                }
                else if (recv_param == 3)
                {
                    print("\r\n set cz 3 (mode = 2.5V)");
                    gf_measure_cz_volt = CZ_3;
                }
                else if (recv_param == 4)
                {
                    print("\r\n set cz 4 (mode = 3.5V)");
                    gf_measure_cz_volt = CZ_4;
                }
                else
                {
                    print("\r\n invalid cz  [CZ : 1 ~ 4]");
                    gf_measure_cz_volt = CZ_1;
                }
                snprintf(msg_buffer, sizeof msg_buffer, "\r\n cz_volt : %3.1f \r\n", gf_measure_cz_volt);
                print(msg_buffer);
            }
            else if(!(strcmp(str_in, "end point")))
            {
                snprintf(msg_buffer, sizeof msg_buffer, "\n\rEnd Point Of Measure is %3.1f[V]\r\n", gf_measure_end_point);
                print(msg_buffer);
            }
            else if(sscanf(str_in, "end point %f", &f_voltage) == 1)
            {
                if((f_voltage == 0.0f) | (f_voltage == 4.5f))
                {
                    gf_measure_end_point = 4.5f;
                }
                else
                {
                    gf_measure_end_point = f_voltage;
                }
                snprintf(msg_buffer, sizeof msg_buffer, "\n\rSet End Point Of Measure to %3.1f[V]\r\n", gf_measure_end_point);
                print(msg_buffer);
            }
            else if(!(strcmp(str_in, "manual volt")))
            {
                snprintf(msg_buffer, sizeof msg_buffer, "\n\rManual Test Voltage is %5.3f[V]\r\n", gf_manual_volt);
                print(msg_buffer);
            }
            else if(sscanf(str_in, "manual volt %f", &f_voltage) == 1)
            {
                if((f_voltage == 0.0f) | (f_voltage == 4.5f))
                {
                    gf_manual_volt = 4.5f;
                }
                else
                {
                    gf_manual_volt = f_voltage;
                }
                snprintf(msg_buffer, sizeof msg_buffer, "\n\rSet Manual Test Voltage to %5.3f[V]\r\n", gf_manual_volt);
                print(msg_buffer);
            }
            else if(!(strcmp(str_in, "manual gain")))
            {
                if (gn_manual_gain  == 0)
                {
                    snprintf(msg_buffer, sizeof msg_buffer, "\n\rManual gain is LOW\r\n");
                }
                else if (gn_manual_gain  == 1)
                {
                    snprintf(msg_buffer, sizeof msg_buffer, "\n\rManual gain is MID\r\n");
                }
                else if (gn_manual_gain  == 2)
                {
                    snprintf(msg_buffer, sizeof msg_buffer, "\n\rManual gain is HIGH\r\n");
                }
                print(msg_buffer);
            }
            else if(sscanf(str_in, "manual gain %u", &recv_param) == 1)
            {
                if (recv_param  == 0)
                {
                    gn_manual_gain = GAIN_LOW;
                    snprintf(msg_buffer, sizeof msg_buffer, "\n\rSet Manual gain to LOW\r\n");
                }
                else if (recv_param  == 1)
                {
                    gn_manual_gain = GAIN_MID;
                    snprintf(msg_buffer, sizeof msg_buffer, "\n\rSet Manual gain to MID\r\n");
                }
                else if (recv_param  == 2)
                {
                    gn_manual_gain = GAIN_HIGH;
                    snprintf(msg_buffer, sizeof msg_buffer, "\n\rSet Manual gain to HIGH\r\n");
                }
                print(msg_buffer);
            }
            else if(!(strcmp(str_in, "vled_7v_on")))
            {
                AQIC_VLED_EN(PWR_ON);
                print("\n\rOK");
            }
            else if(!(strcmp(str_in, "vled_7v_off")))
            {
                AQIC_VLED_EN(PWR_OFF);
                print("\n\rOK");
            }
            else if(!(strcmp(str_in, "trim_get_regs")))
            {
                apic_get_regs_for_trimming();
                print("\n\rOK");
            }
            else if(!(strcmp(str_in, "trim_e2p")))
            {
                apic_program_e2p();
                print("\n\rOK");
            }
            else if(sscanf(str_in, "dac_output %f", &f_voltage) == 1)
            {
                if(f_voltage < 0.0f || f_voltage > 5.0f)
                {
                    print("\n\rInvalid parameter");
                }
                else
                {
                    AQIC_Apply_Voltage(f_voltage, AQIC_D_ALL);
                    print("\n\rOK");
                }
            }
            else if(!(strcmp(str_in, "reset")))
            {
                print("RESET\r\n");
                NVIC_SystemReset();
            }
            else if(strncmp(str_in, CMD_GUI_KEY_POWER_UP, strlen(CMD_GUI_KEY_POWER_UP)) == 0)
            {
                print("KEY_POWER_UP\r\n");
                osMessagePut(queue_key_eventHandle, KEY_POWER_UP, 0U);
            }

            else if(strncmp(str_in, CMD_GUI_KEY_TRIMMING_UP, strlen(CMD_GUI_KEY_TRIMMING_UP)) == 0)
            {
                print("KEY_TRIMMING_UP\r\n");
                osMessagePut(queue_key_eventHandle, KEY_TRIMMING_UP, 0U);
            }

            else if(strncmp(str_in, CMD_GUI_RESET, strlen(CMD_GUI_RESET)) == 0)
            {
                print("CMD_GUI_RESET\r\n");
                NVIC_SystemReset();
            }

            else if(strncmp(str_in, CMD_GUI_ACTIVATE, strlen(CMD_GUI_ACTIVATE)) == 0)
            {
                print("\r\nstart AQ06 TRIMMING_JIG application....\r\n");
                print("CMD_GUI_ACTIVATE\r\n");

                GUI_SET_otp_regs(I2C_AQIC_06);
                GUI_SET_init_reg_tbl(I2C_AQIC_06);
                GUI_SET_Activate();
            }

            // else if(strncmp(str_in, CMD_GUI_TRIMSTART, strlen(CMD_GUI_TRIMSTART)) == 0)
            else if(sscanf(str_in, "ui:gtrim %d", &recv_param) == 1)
            {
                print("CMD_GUI_TRIMSTART\r\n");
                GUI_SET_TrimStart(recv_param);
            }

            else if(strncmp(str_in, CMD_GUI_READ_REGISTER_ALL, strlen(CMD_GUI_READ_REGISTER_ALL)) == 0)
            {
                GUI_SET_RegisterReadAll();
                GUI_SEND_reg_all();
            }

            else if(sscanf(str_in, "ui:gwreg %x %x", &recv_reg_addr, &recv_reg_val) == 2)
            {
                GUI_write_reg(recv_reg_addr, recv_reg_val);
                // GUI_SEND_reg_all();
            }

            else if(sscanf(str_in, "ui:gtren %x", &recv_reg_val) == 1)
            {
                GUI_trim_enable(recv_reg_val);
            }

            else if(sscanf(str_in, "ui:din %d", &recv_param) == 1)
            {
                print("CMD_GUI_DIN_MODE\r\n");
                GUI_din_mode_enable(recv_param);
            }

            else if(sscanf(str_in, "ui:gvolt %f %f %f %f %f %f",
            &recv_trim_volt[0], &recv_trim_volt[1], &recv_trim_volt[2],
            &recv_trim_volt[3], &recv_trim_volt[4], &recv_trim_volt[5] ) == 6)
            {
                GUI_trim_VoltageTbl(recv_trim_volt);
            }

            else if(sscanf(str_in, "ui:grang %u %u %u %u", &recv_trim_rang[0], &recv_trim_rang[1], &recv_trim_rang[2], &recv_trim_rang[3]) == 4)
            {
                GUI_trim_RangeTbl(recv_trim_rang);
            }

            else if(sscanf(str_in, "ui:czmn %u %u %u", &recv_czmn[0], &recv_czmn[1], &recv_czmn[2]) == 3)
            {
                GUI_CZmax_CZn_Set(recv_czmn[0], recv_czmn[1], recv_czmn[2]);
            }

            else if(sscanf(str_in, "ui:gainl %u", &recv_param) == 1)
            {
                GUI_GAIN_LEVEL(recv_param);
            }

            else
            {
                print("\n\rWhat? \0");
            }

            memset(str_in, 0x00, sizeof(str_in));
        }
  }
  /* USER CODE END TaskDebugUart */
}

void HAL_TIM_PeriodElapsedCallback(TIM_HandleTypeDef *htim)
{
  if (htim->Instance == TIM1)
  {
    HAL_IncTick();
  }
  /* USER CODE BEGIN Callback 1 */
#if 0
    else if(TIM2 == htim->Instance)  /* 3us, for Gate pulse */
    {
        timer_for_amic_gate_pulse();
    }
    else if(TIM4 == htim->Instance)  /* 2083us, 480Hz  */
    {
        timer_for_virtual_vsync();
    }
    else if(TIM5 == htim->Instance)  /* 347us, 2083/6ch  */
    {
        timer_for_output_channel();
    }
    else if(TIM9 == htim->Instance)  /* 80us,  */
    {
        timer_for_i_t_voltage();
    }
    else if(TIM13 == htim->Instance)  /* ,  */
    {
        timer_for_end();
    }
#endif
  /* USER CODE END Callback 1 */
}

void Error_Handler(void)
{
  __disable_irq();
  while (1)
  {
  }
}

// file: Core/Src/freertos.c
/* USER CODE BEGIN Header */
/**
  ******************************************************************************
  * File Name          : freertos.c
  * Description        : Code for freertos applications
  ******************************************************************************
  * @attention
  *
  * <h2><center>&copy; Copyright (c) 2021 STMicroelectronics.
  * All rights reserved.</center></h2>
  *
  * This software component is licensed by ST under Ultimate Liberty license
  * SLA0044, the "License"; You may not use this file except in compliance with
  * the License. You may obtain a copy of the License at:
  *                             www.st.com/SLA0044
  *
  ******************************************************************************
  */
/* USER CODE END Header */

#include "FreeRTOS.h"
#include "task.h"
#include "main.h"

/* GetIdleTaskMemory prototype (linked to static allocation support) */
void vApplicationGetIdleTaskMemory( StaticTask_t **ppxIdleTaskTCBBuffer, StackType_t **ppxIdleTaskStackBuffer, uint32_t *pulIdleTaskStackSize );

/* GetTimerTaskMemory prototype (linked to static allocation support) */
void vApplicationGetTimerTaskMemory( StaticTask_t **ppxTimerTaskTCBBuffer, StackType_t **ppxTimerTaskStackBuffer, uint32_t *pulTimerTaskStackSize );

/* USER CODE BEGIN GET_IDLE_TASK_MEMORY */
static StaticTask_t xIdleTaskTCBBuffer;
static StackType_t xIdleStack[configMINIMAL_STACK_SIZE];

void vApplicationGetIdleTaskMemory( StaticTask_t **ppxIdleTaskTCBBuffer, StackType_t **ppxIdleTaskStackBuffer, uint32_t *pulIdleTaskStackSize )
{
  *ppxIdleTaskTCBBuffer = &xIdleTaskTCBBuffer;
  *ppxIdleTaskStackBuffer = &xIdleStack[0];
  *pulIdleTaskStackSize = configMINIMAL_STACK_SIZE;
  /* place for user code */
}
/* USER CODE END GET_IDLE_TASK_MEMORY */

/* USER CODE BEGIN GET_TIMER_TASK_MEMORY */
static StaticTask_t xTimerTaskTCBBuffer;
static StackType_t xTimerStack[configTIMER_TASK_STACK_DEPTH];

void vApplicationGetTimerTaskMemory( StaticTask_t **ppxTimerTaskTCBBuffer, StackType_t **ppxTimerTaskStackBuffer, uint32_t *pulTimerTaskStackSize )
{
  *ppxTimerTaskTCBBuffer = &xTimerTaskTCBBuffer;
  *ppxTimerTaskStackBuffer = &xTimerStack[0];
  *pulTimerTaskStackSize = configTIMER_TASK_STACK_DEPTH;
  /* place for user code */
}
/* USER CODE END GET_TIMER_TASK_MEMORY */
